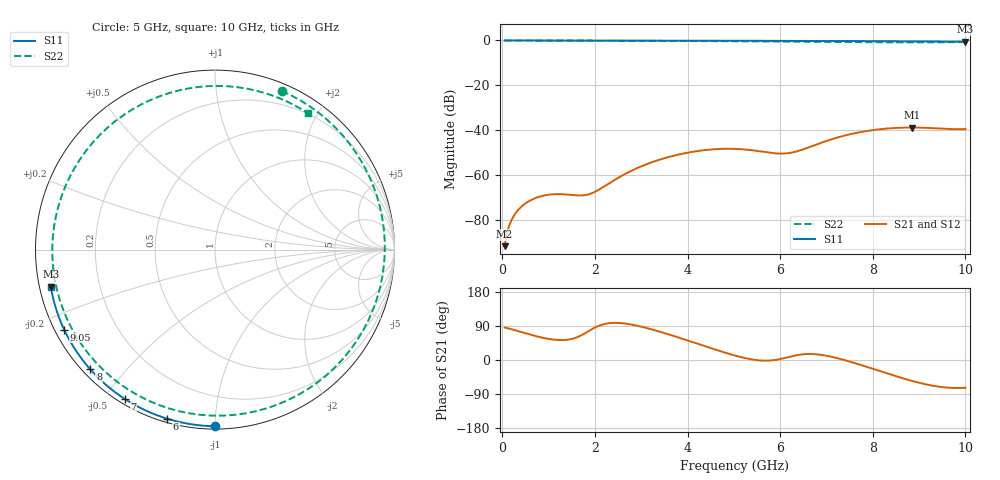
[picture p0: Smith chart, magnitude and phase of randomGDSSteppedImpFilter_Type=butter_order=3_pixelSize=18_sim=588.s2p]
! freq	dB(S11)	phase(S11)	dB(S12)	phase(S12)
!  dB(S21)	phase(S21)	dB(S22)	phase(S22)
!S-par simulation data
#  GHz  S  DB  R 50
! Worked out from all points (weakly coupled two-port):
!   200 points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, 50 MHz to 10 GHz, reference 50 ohm
!   highest |S21| = -38.75 dB at 8.85 GHz (marker M1); lowest = -91.5 dB at 50 MHz (marker M2)
!   lowest |S11| = -0.6 dB at 10 GHz (marker M3), VSWR 31.19, Z = 1.62 - j5.59 ohm
!   |S11| at or under -10 dB: nowhere
!   |S22| runs from -0.9 to 0.0 dB; largest |S21 - S12| = 0
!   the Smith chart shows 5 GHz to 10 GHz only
!   S11 on the Smith chart (normalised r, x): 5 GHz: 0.02, -1.00; 6 GHz: 0.02, -0.76; 7 GHz: 0.02, -0.56; 8 GHz: 0.02, -0.40; 9.05 GHz: 0.03, -0.25; 10 GHz: 0.03, -0.11
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0.05  -0.01 -1.0  -91.53 85.8  -91.53 85.8  -0.02 -3.0
0.2  -0.01 -3.9  -79.87 81.1  -79.87 81.1  -0.03 -12.3
0.55  -0.01 -10.6  -71.83 68.7  -71.83 68.7  -0.04 -33.8
0.95  -0.02 -18.3  -68.79 56.8  -68.79 56.8  -0.07 -57.7
1.75  -0.04 -33.4  -68.89 68.1  -68.89 68.1  -0.12 -103.3
2.65  -0.06 -49.8  -59.43 96.2  -59.43 96.2  -0.17 -151.7
3.4  -0.08 -63.1  -53.02 74.7  -53.02 74.7  -0.21 167.7
3.85  -0.10 -70.9  -50.57 57.6  -50.57 57.6  -0.25 142.0
4.3  -0.11 -78.4  -48.97 39.5  -48.97 39.5  -0.29 114.5
5  -0.14 -89.9  -48.23 12.5  -48.23 12.5  -0.36 67.2
5.05  -0.14 -90.7  -48.27 10.8  -48.27 10.8  -0.37 63.6
5.55  -0.16 -98.7  -49.28 -1.0  -49.28 -1.0  -0.43 26.2
6  -0.18 -105.8  -50.35 2.5  -50.35 2.5  -0.50 -9.0
6.7  -0.23 -116.5  -46.94 15.7  -46.94 15.7  -0.61 -64.1
7  -0.25 -121.1  -44.71 11.3  -44.71 11.3  -0.67 -87.3
7.45  -0.28 -127.9  -42.02 -2.3  -42.02 -2.3  -0.75 -121.3
8  -0.33 -136.1  -39.89 -23.3  -39.89 -23.3  -0.83 -162.3
8.35  -0.36 -141.4  -39.13 -37.0  -39.13 -37.0  -0.86 171.8
8.85  -0.41 -149.0  -38.75 -55.3  -38.75 -55.3  -0.86 135.1
9.05  -0.43 -152.1  -38.81 -61.5  -38.81 -61.5  -0.85 120.7
9.5  -0.49 -159.1  -39.24 -71.5  -39.24 -71.5  -0.80 88.9
10  -0.56 -167.2  -39.40 -73.3  -39.40 -73.3  -0.73 55.7
